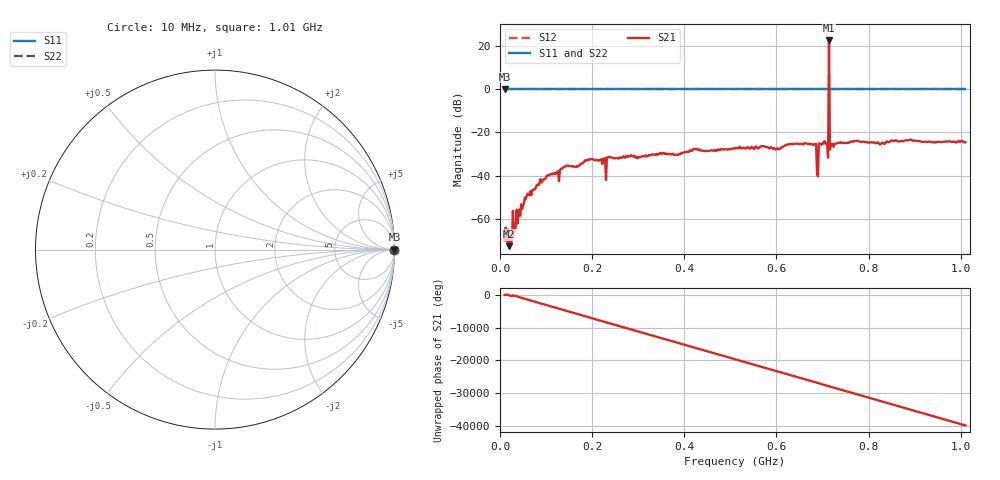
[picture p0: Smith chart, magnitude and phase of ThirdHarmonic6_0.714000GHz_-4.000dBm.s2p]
! 8/15/2025 11:51:39 PM
! C:\ANRITSUVNA\TEMP\TEMP.S2P
! CHANNEL.1
! TR.MEASUREMENT
! RAW.DATA
! RF.CORRECTION.OFF
! AVERAGING.OFF
! IF.BANDWIDTH: 5KHZ
! SWEEPTYPE:  FREQ.SWEEP(Linear)
! Reference Plane Port Info
! PORT:  PORT1  PORT2
! DISTANCE:  0  m  0  m
! TIME:  0  s  0  s
! PHASE.OFFSET:  0  deg.  0  deg.
! LOSS:  0  dB  0  dB
! REF.LOSS:  0  dB  0  dB
! REF.FREQ:  0  Hz  0  Hz
! Power Info
! POWER:  -20  dBm  -20  dBm
! EFF.POWER:  -20  dBm  -20  dBm
! SOURCE.ATTEN:  0  dB  0  dB
! TEST.ATTEN:  0  dB  0  dB
# GHZ S RI R 50.0
! FREQ.GHZ  S11RE  S11IM  S21RE  S21IM  S12RE  S12IM  S22RE  S22IM
!; PortSelection: Port_12
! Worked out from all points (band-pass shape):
!   501 points, 10 MHz to 1.01 GHz, reference 50 ohm
!   highest |S21| = 22.37 dB at 714 MHz (marker M1); lowest = -72.4 dB at 20 MHz (marker M2)
!   |S21| within 3 dB of the highest: 713.8889 MHz to 714.1195 MHz (230.7 kHz wide, 0.0323 % of centre)
!   lowest |S11| = 0.0 dB at 10 MHz (marker M3)
!   |S11| at or under -10 dB: nowhere
!   |S22| runs from 0.0 to 0.0 dB; largest |S21 - S12| = 13
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0.01  1 0  0.000108 -0.00031  1 0  1 0
0.02  1 0  -0.000157 0.000183  1 0  1 0
0.056  1 0  -0.000878 0.00281  1 0  1 0
0.084  1 0  0.00479 0.00382  1 0  1 0
0.142  1 0  -0.0154 -0.00627  1 0  1 0
0.178  1 0  -0.0189 -0.00407  1 0  1 0
0.226  1 0  0.0155 0.0191  1 0  1 0
0.236  1 0  0.027 0.0032  1 0  1 0
0.344  1 0  0.0304 -0.00703  1 0  1 0
0.51  1 0  -0.0397 0.0165  1 0  1 0
0.678  1 0  -0.0262 -0.0455  1 0  1 0
0.682  1 0  0.00847 0.0533  1 0  1 0
0.686  1 0  0.00912 -0.0532  1 0  1 0
0.692  1 0  0.044 0.0349  1 0  1 0
0.696  1 0  -0.0313 -0.0446  1 0  1 0
0.708  1 0  -0.0217 0.0531  1 0  1 0
0.71  1 0  0.0486 0.028  1 0  1 0
0.714  1 0  5.438 -11.95  1 0  1 0
0.718  1 0  0.0211 0.0493  1 0  1 0
0.72  1 0  0.0526 -0.0113  1 0  1 0
0.844  1 0  0.0451 0.039  1 0  1 0
1.01  1 0  -0.0583 -0.0118  1 0  1 0
